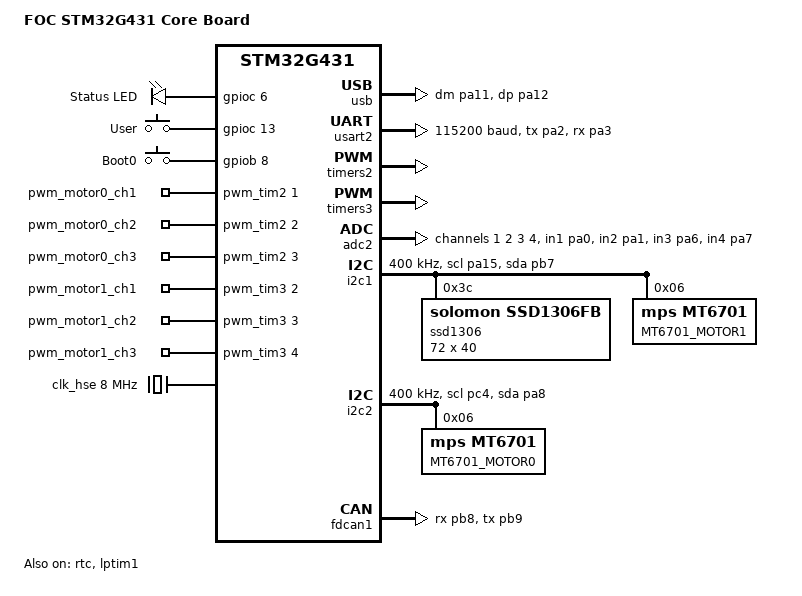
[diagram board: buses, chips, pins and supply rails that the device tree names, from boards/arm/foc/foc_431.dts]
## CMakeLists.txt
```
cmake_minimum_required(VERSION 3.20.0)

set(BOARD_ROOT ${CMAKE_CURRENT_SOURCE_DIR})
set(DTS_ROOT ${CMAKE_CURRENT_SOURCE_DIR})

if (NOT BUILD_TYPE)
    set(BUILD_TYPE debug)
endif()

# Set overlay file based on CONF_FILE environment/cache variable
# Users can build with: west build -b foc_431 -- -DCONF_FILE=prj_no_usb.conf
if(NOT DEFINED DTC_OVERLAY_FILE)
    if(DEFINED CONF_FILE AND "${CONF_FILE}" MATCHES "no_usb")
        set(DTC_OVERLAY_FILE ${CMAKE_CURRENT_SOURCE_DIR}/foc_431_no_usb.overlay)
    endif()
endif()

find_package(Zephyr REQUIRED HINTS $ENV{ZEPHYR_BASE})
project(foc)

target_sources(app PRIVATE
    src/main.c
    src/drv/oled.c
    src/drv/mt6701.c
    src/drv/pwm_bldc.c
)

# ADC DMA driver
target_sources_ifdef(CONFIG_FOC_ADC_DMA app PRIVATE src/drv/adc_dma.c)

# USB CDC-ACM source
target_sources_ifdef(CONFIG_ENABLE_USB app PRIVATE src/cdcacm.c)

# Shell source
target_sources_ifdef(CONFIG_SHELL app PRIVATE src/console.c)

include_directories(inc)

# Add debug-specific compiler flags
if(BUILD_TYPE STREQUAL "debug")
    message("Set BUILD_TYPE to Debug")
    target_compile_options(app PRIVATE -O0 -g3)
    target_compile_definitions(app PRIVATE DEBUG=1)
endif()
```

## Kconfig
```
# FOC Application Kconfig

mainmenu "FOC Application Configuration"

config FOC_ADC_DMA
	bool "Enable ADC periodic sampling driver"
	default y
	depends on ADC
	help
	  Enable ADC driver that periodically reads analog channels
	  using a timer and stores results in a buffer accessible
	  to the application.

if FOC_ADC_DMA

config FOC_ADC_SAMPLE_FREQ_HZ
	int "ADC sampling frequency in Hz"
	default 10000
	range 100 100000
	help
	  Frequency at which ADC channels are sampled using DMA.
	  Higher frequencies provide better resolution for fast-changing
	  signals but increase CPU/DMA load.
	  Default: 10 kHz (10000 Hz)

config FOC_ADC_NUM_CHANNELS
	int "Number of ADC channels to sample"
	default 4
	range 1 16
	help
	  Number of ADC channels to sample via DMA.
	  Must match the number of channels configured in device tree.

endif # FOC_ADC_DMA

source "Kconfig.zephyr"
```

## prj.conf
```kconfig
# Basic hardware configurations
CONFIG_I2C=y
CONFIG_GPIO=y
CONFIG_SPI=y
CONFIG_CLOCK_CONTROL=y
CONFIG_PWM=y
CONFIG_ADC=y
CONFIG_ADC_ASYNC=y
CONFIG_DMA=y

# Logging configurations
CONFIG_LOG=y
CONFIG_LOG_MODE_MINIMAL=y
CONFIG_LOG_DEFAULT_LEVEL=3
CONFIG_LOG_PRINTK=n

# Shell subsystem
CONFIG_SHELL=y
CONFIG_SHELL_BACKEND_SERIAL=y
CONFIG_SHELL_PROMPT_UART="foc:~$ "
CONFIG_SHELL_VT100_COLORS=n

# USB support (FOC control)
CONFIG_ENABLE_USB=n

# Math library support
CONFIG_NEWLIB_LIBC=y
CONFIG_NEWLIB_LIBC_FLOAT_PRINTF=y
CONFIG_NEWLIB_LIBC_FLOAT_SCANF=y

# ADC DMA driver
CONFIG_FOC_ADC_DMA=y
CONFIG_FOC_ADC_SAMPLE_FREQ_HZ=500
CONFIG_FOC_ADC_NUM_CHANNELS=4
```

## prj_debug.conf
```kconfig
CONFIG_ASSERT_VERBOSE=y
CONFIG_DEBUG_THREAD_INFO=y
CONFIG_DEBUG_COREDUMP=y
CONFIG_HW_STACK_PROTECTION=y
```

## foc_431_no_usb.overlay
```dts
/*
 * Device tree overlay to disable USB when CONFIG_ENABLE_USB=n
 */

&usb {
	status = "disabled";
};
```

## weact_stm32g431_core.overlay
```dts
/* USB Device Configuration */
zephyr_udc0: &usb {
	pinctrl-0 = <&usb_dm_pa11 &usb_dp_pa12>;
	pinctrl-names = "default";
	status = "okay";

	cdc_acm_uart0: cdc_acm_uart0 {
		compatible = "zephyr,cdc-acm-uart";
		label = "CDC ACM 0";
	};
};

/* I2C1 Configuration for OLED Display */
&i2c1 {
	status = "okay";
	/* NOTE: Using PA15/PB7 instead of PB8/PB9
	 * PB8 is reserved for BOOT0 button - see gpio_keys above */
	pinctrl-0 = <&i2c1_scl_pa15 &i2c1_sda_pb7>;
	pinctrl-names = "default";
	clock-frequency = <I2C_BITRATE_FAST>;

	ssd1306: ssd1306@3c {
		compatible = "solomon,ssd1306fb";
		reg = <0x3c>;
		width = <72>;
		height = <40>;
		segment-offset = <0>;
		page-offset = <0>;
		display-offset = <0>;
		multiplex-ratio = <39>;
		segment-remap;
		com-invdir;
		prechargep = <0x22>;
	};
};
```

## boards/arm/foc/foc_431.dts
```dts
/*
 * Copyright (c) 2023 Andreas Sandberg
 *
 * SPDX-License-Identifier: Apache-2.0
 */

/dts-v1/;
#include <st/g4/stm32g431Xb.dtsi>
#include <st/g4/stm32g431c(6-8-b)ux-pinctrl.dtsi>
#include <zephyr/dt-bindings/usb-c/pd.h>
#include <zephyr/dt-bindings/input/input-event-codes.h>

/ {
	model = "FOC STM32G431 Core Board";
	compatible = "st,stm32g431";

	chosen {
		zephyr,console = &usart2;
		zephyr,shell-uart = &usart2;
		zephyr,sram = &sram0;
		zephyr,flash = &flash0;
	};

	aliases {
		led0 = &led_0;
		mcuboot-button0 = &button_0;
		mcuboot-led0 = &led_0;
		sw0 = &button_0;
		usbc-port0 = &usbc1;
		pwm-motor0 = &pwm_tim2;
		pwm-motor1 = &pwm_tim3;
		encoder-motor0 = &mt6701_motor0;
		encoder-motor1 = &mt6701_motor1;
	};

	leds {
		compatible = "gpio-leds";

		led_0: led0 {
			gpios = <&gpioc 6 GPIO_ACTIVE_HIGH>;
			label = "Status LED";
		};
	};

	gpio_keys {
		compatible = "gpio-keys";

		button_0: button0 {
			label = "User";
			gpios = <&gpioc 13 (GPIO_PULL_DOWN | GPIO_ACTIVE_HIGH)>;
			zephyr,code = <INPUT_KEY_0>;
		};

		button_1: button1 {
			label = "Boot0";
			/* WARNING: PB8 is used as BOOT0 button */
			gpios = <&gpiob 8 GPIO_ACTIVE_HIGH>;
			zephyr,code = <INPUT_KEY_1>;
		};
	};

	vbus1: vbus {
		compatible = "zephyr,usb-c-vbus-adc";
		status = "disabled";
		io-channels = <&adc2 12>;
		output-ohms = <10000>;
		full-ohms = <(100000 + 10000)>;
	};

	ports {
		#address-cells = <1>;
		#size-cells = <0>;

		usbc1: usbc-port@1 {
			compatible = "usb-c-connector";
			status = "disabled";
			reg = <1>;
			tcpc = <&ucpd1>;
			vbus = <&vbus1>;
			data-role = "device";
			power-role = "sink";
			sink-pdos = <PDO_FIXED(5000, 100, PDO_FIXED_USB_COMM)>;
		};
	};
};

/* ========================================================================== */
/* SWD / JTAG pins – Reserved by default (PA13, PA14)                        */
/* PA13 = SWDIO, PA14 = SWCLK - automatically reserved for debugging         */
/* ========================================================================== */

&clk_lsi {
	status = "okay";
};

&clk_lse {
	status = "okay";
};

&clk_hsi {
	status = "disabled";
};

&clk_hse {
	status = "okay";
	clock-frequency = <DT_FREQ_M(8)>;
};

&rcc {
	clocks = <&pll>;
	clock-frequency = <DT_FREQ_M(144)>;
	ahb-prescaler = <1>;
	apb1-prescaler = <1>;
	apb2-prescaler = <1>;
};

&pll {
	status = "okay";
	div-m = <2>;
	mul-n = <72>;
	div-p = <2>;
	div-q = <6>;
	div-r = <2>;
	clocks = <&clk_hse>;
};

&rtc {
	status = "okay";
	clocks = <&rcc STM32_CLOCK(APB1, 10)>,
		 <&rcc STM32_SRC_LSE RTC_SEL(1)>;
};

stm32_lp_tick_source: &lptim1 {
	status = "okay";
	clocks = <&rcc STM32_CLOCK(APB1, 31)>,
		 <&rcc STM32_SRC_LSE LPTIM1_SEL(3)>;
};

&iwdg {
	status = "disabled";
};

&dma1 {
	status = "okay";
};

&dmamux1 {
	status = "okay";
};

&usb {
	status = "okay";
	pinctrl-0 = <&usb_dm_pa11 &usb_dp_pa12>;
	pinctrl-names = "default";

	cdc_acm_uart: cdc_acm_uart {
		compatible = "zephyr,cdc-acm-uart";
	};
};

&ucpd1 {
	psc-ucpdclk = <1>;
	hbitclkdiv = <27>;
	pinctrl-0 = <&ucpd1_cc1_pb6 &ucpd1_cc2_pb4>;
	pinctrl-names = "default";
};

/* ========================================================================== */
/* USART2 on PA2 (TX) + PA3 (RX)                                            */
/* ========================================================================== */
&usart2 {
	status = "okay";
	pinctrl-0 = <&usart2_tx_pa2 &usart2_rx_pa3>;
	pinctrl-names = "default";
	current-speed = <115200>;
};

/* ========================================================================== */
/* Motor 0 – TIM2 high-side only: PA5, PB3, PB10                           */
/* ========================================================================== */
&timers2 {
	status = "okay";

	pwm_tim2: pwm {
		status = "okay";
		pinctrl-0 = <&tim2_ch1_pa5
		             &tim2_ch2_pb3
		             &tim2_ch3_pb10>;
		pinctrl-names = "default";
		#pwm-cells = <3>;
	};
};

/ {
	pwm_motor0_dev: pwm-motor0-device {
		compatible = "pwm-leds";
		pwm_motor0_ch1: pwm-motor0-ch1 {
			pwms = <&pwm_tim2 1 50000 PWM_POLARITY_NORMAL>;
		};
		pwm_motor0_ch2: pwm-motor0-ch2 {
			pwms = <&pwm_tim2 2 50000 PWM_POLARITY_NORMAL>;
		};
		pwm_motor0_ch3: pwm-motor0-ch3 {
			pwms = <&pwm_tim2 3 50000 PWM_POLARITY_NORMAL>;
		};
	};
};

/* ========================================================================== */
/* Motor 1 – TIM3 high-side only: PA4, PB0, PB1                            */
/* ========================================================================== */
&timers3 {
	status = "okay";

	pwm_tim3: pwm {
		status = "okay";
		pinctrl-0 = <&tim3_ch2_pa4
		             &tim3_ch3_pb0
		             &tim3_ch4_pb1>;
		pinctrl-names = "default";
		#pwm-cells = <3>;
	};
};

/ {
	pwm_motor1_dev: pwm-motor1-device {
		compatible = "pwm-leds";
		pwm_motor1_ch1: pwm-motor1-ch1 {
			pwms = <&pwm_tim3 2 50000 PWM_POLARITY_NORMAL>;
		};
		pwm_motor1_ch2: pwm-motor1-ch2 {
			pwms = <&pwm_tim3 3 50000 PWM_POLARITY_NORMAL>;
		};
		pwm_motor1_ch3: pwm-motor1-ch3 {
			pwms = <&pwm_tim3 4 50000 PWM_POLARITY_NORMAL>;
		};
	};
};

/* ========================================================================== */
/* ADC1 - DISABLED                                                          */
/* ADC2: PA0 (IN1), PA1 (IN2), PA6 (IN3), PA7 (IN4)                        */
/* ========================================================================== */
&adc1 {
	status = "disabled";
};

&adc2 {
	status = "okay";
	pinctrl-0 = <&adc2_in1_pa0
	             &adc2_in2_pa1
	             &adc2_in3_pa6
	             &adc2_in4_pa7>;
	pinctrl-names = "default";
	st,adc-clock-source = "SYNC";
	st,adc-prescaler = <1>;  /* No prescaler: 144 MHz ADC clock */
	dmas = <&dmamux1 0 5 (STM32_DMA_PERIPH_RX | STM32_DMA_PRIORITY_HIGH)>;
	dma-names = "dmamux";

	#address-cells = <1>;
	#size-cells = <0>;

	channel@1 {
		reg = <1>;
		zephyr,gain = "ADC_GAIN_1";
		zephyr,reference = "ADC_REF_INTERNAL";
		zephyr,acquisition-time = <ADC_ACQ_TIME(ADC_ACQ_TIME_TICKS, 48)>;
		zephyr,resolution = <12>;
		zephyr,vref-mv = <3300>;
	};

	channel@2 {
		reg = <2>;
		zephyr,gain = "ADC_GAIN_1";
		zephyr,reference = "ADC_REF_INTERNAL";
		zephyr,acquisition-time = <ADC_ACQ_TIME(ADC_ACQ_TIME_TICKS, 48)>;
		zephyr,resolution = <12>;
		zephyr,vref-mv = <3300>;
	};

	channel@3 {
		reg = <3>;
		zephyr,gain = "ADC_GAIN_1";
		zephyr,reference = "ADC_REF_INTERNAL";
		zephyr,acquisition-time = <ADC_ACQ_TIME(ADC_ACQ_TIME_TICKS, 48)>;
		zephyr,resolution = <12>;
		zephyr,vref-mv = <3300>;
	};

	channel@4 {
		reg = <4>;
		zephyr,gain = "ADC_GAIN_1";
		zephyr,reference = "ADC_REF_INTERNAL";
		zephyr,acquisition-time = <ADC_ACQ_TIME(ADC_ACQ_TIME_TICKS, 48)>;
		zephyr,resolution = <12>;
		zephyr,vref-mv = <3300>;
	};
};

/* ========================================================================== */
/* I2C1 on PA15 (SCL) + PB7 (SDA)                                           */
/* ========================================================================== */
&i2c1 {
	status = "okay";
	pinctrl-0 = <&i2c1_scl_pa15 &i2c1_sda_pb7>;
	pinctrl-names = "default";
	clock-frequency = <I2C_BITRATE_FAST>;

	ssd1306: ssd1306@3c {
		compatible = "solomon,ssd1306fb";
		reg = <0x3c>;
		width = <72>;
		height = <40>;
		segment-offset = <0>;
		page-offset = <0>;
		display-offset = <0>;
		multiplex-ratio = <39>;
		segment-remap;
		com-invdir;
		prechargep = <0x22>;
	};

	mt6701_motor1: mt6701@6 {
		compatible = "mps,mt6701";
		reg = <0x06>;
		label = "MT6701_MOTOR1";
	};
};

/* ========================================================================== */
/* I2C2 on PC4 (SCL) + PA8 (SDA)                                            */
/* ========================================================================== */
&i2c2 {
	status = "okay";
	pinctrl-0 = <&i2c2_scl_pc4 &i2c2_sda_pa8>;
	pinctrl-names = "default";
	clock-frequency = <I2C_BITRATE_FAST>;

	mt6701_motor0: mt6701@6 {
		compatible = "mps,mt6701";
		reg = <0x06>;
		label = "MT6701_MOTOR0";
	};
};

/* ========================================================================== */
/* FDCAN1 on PB8 (RX) + PB9 (TX)                                            */
/* ========================================================================== */
&fdcan1 {
	status = "okay";
	pinctrl-0 = <&fdcan1_rx_pb8 &fdcan1_tx_pb9>;
	pinctrl-names = "default";
	clocks = <&rcc STM32_CLOCK(APB1, 25)>;
	clk-divider = <1>;
	bosch,mram-cfg = <0x0 28 8 18 18 0 8 8>;
};

/* ========================================================================== */
/* Everything else disabled to keep pins free                                */
/* ========================================================================== */
&timers1 { status = "disabled"; };
&timers4 { status = "disabled"; };
&timers8 { status = "disabled"; };
&i2c3   { status = "disabled"; };
&spi1   { status = "disabled"; };
&spi2   { status = "disabled"; };
&spi3   { status = "disabled"; };
```

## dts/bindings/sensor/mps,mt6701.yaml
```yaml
# Copyright (c) 2025 FOC Project
# SPDX-License-Identifier: Apache-2.0

description: MPS MT6701 14-bit Magnetic Angle Position Encoder

compatible: "mps,mt6701"

include: [sensor-device.yaml, i2c-device.yaml]

properties:
  label:
    type: string
    description: Human readable string describing the device
```

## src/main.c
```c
#include <zephyr/kernel.h>
#include <zephyr/logging/log.h>
#include "oled.h"
#include "cdcacm.h"
#include "console.h"
#include "pwm_bldc.h"

LOG_MODULE_REGISTER(main, LOG_LEVEL_INF);

int main(void)
{
    const struct device *pwm_motor0;

    LOG_INF("FOC STM32G431 Starting");

#ifdef CONFIG_ENABLE_USB
    cdcacm_init();
#endif /* CONFIG_ENABLE_USB */

    /* Get PWM BLDC device by alias */
    pwm_motor0 = pwm_bldc_get_device("pwm-motor0");
    if (pwm_motor0 == NULL) {
        LOG_ERR("Failed to get PWM motor0 device");
    } else if (!device_is_ready(pwm_motor0)) {
        LOG_ERR("PWM motor0 device not ready");
    } else {
        LOG_INF("PWM motor0 initialized successfully");

        /* Set initial duty cycle to 0% on all phases */
        pwm_bldc_disable(pwm_motor0);
    }

    while (1) {
        pwm_bldc_update_oled();
        k_sleep(K_MSEC(500));
    }

    return 0;
}
```

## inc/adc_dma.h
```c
/*
 * Copyright (c) 2025 FOC Project
 *
 * SPDX-License-Identifier: Apache-2.0
 */

#ifndef ADC_DMA_H
#define ADC_DMA_H

#include <zephyr/kernel.h>
#include <zephyr/device.h>
#include <stdint.h>

/**
 * @brief ADC DMA driver for periodic analog channel sampling
 *
 * This driver uses DMA to periodically read ADC channels at a configured
 * frequency and store the results in a circular buffer. The application
 * can read the latest values at any time without blocking.
 */

/**
 * @brief Get latest ADC value for a channel
 *
 * Returns the most recently sampled ADC value for the specified channel.
 * This is a non-blocking read from the DMA buffer.
 *
 * @param channel Channel number (0-based, must be < FOC_ADC_NUM_CHANNELS)
 * @param value Pointer to store the 12-bit ADC value (0-4095)
 *
 * @return 0 on success, -EINVAL if channel invalid, -ENODATA if no data yet
 */
int adc_dma_get_channel(uint8_t channel, uint16_t *value);

/**
 * @brief Get all ADC channel values
 *
 * Copies all current ADC channel values to the provided buffer.
 * This is a non-blocking read from the DMA buffer.
 *
 * @param values Buffer to store ADC values (must hold FOC_ADC_NUM_CHANNELS values)
 * @param num_channels Number of channels to read
 *
 * @return 0 on success, -EINVAL if parameters invalid, -ENODATA if no data yet
 */
int adc_dma_get_all_channels(uint16_t *values, uint8_t num_channels);

/**
 * @brief Convert ADC raw value to millivolts
 *
 * Converts a 12-bit ADC value to millivolts based on the reference voltage.
 *
 * @param raw_value Raw ADC value (0-4095)
 *
 * @return Voltage in millivolts
 */
uint32_t adc_dma_raw_to_mv(uint16_t raw_value);

#endif /* ADC_DMA_H */
```

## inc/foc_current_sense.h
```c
/*
 * Copyright (c) 2025 FOC Project
 *
 * SPDX-License-Identifier: Apache-2.0
 */

#ifndef FOC_CURRENT_SENSE_H
#define FOC_CURRENT_SENSE_H

#include <zephyr/kernel.h>
#include <zephyr/drivers/adc.h>
#include "foc_math.h"

/**
 * @brief Current sense amplifier configuration
 */
struct current_sense_amp_config {
	float gain;              /* Amplifier gain (V/V) */
	float shunt_resistance;  /* Shunt resistor value (Ohms) */
	float offset_voltage;    /* Amplifier offset voltage (V) */
	float vref;              /* ADC reference voltage (V) */
};

/**
 * @brief Current sense device structure (DMA-based multi-channel)
 */
struct current_sense_dev {
	/* ADC device */
	const struct device *adc_dev;

	/* ADC channel IDs */
	uint8_t channel_a;
	uint8_t channel_b;

	/* Channel configurations */
	struct adc_channel_cfg channel_cfg_a;
	struct adc_channel_cfg channel_cfg_b;

	/* DMA buffer for simultaneous reads (2 channels) */
	int16_t adc_buffer[2];

	/* ADC sequence for multi-channel DMA read */
	struct adc_sequence sequence;

	/* Amplifier configuration */
	struct current_sense_amp_config amp_config;

	/* Calibration data */
	float offset_a;  /* Phase A ADC offset */
	float offset_b;  /* Phase B ADC offset */
	bool calibrated;

	/* Current readings (Amps) */
	float current_a;
	float current_b;
	float current_c;  /* Calculated from Kirchhoff's law: Ic = -(Ia + Ib) */

	/* DQ frame currents */
	float current_d;
	float current_q;
};

/**
 * @brief Initialize current sense module
 *
 * Initializes 2-channel current sensing. Phase C current is automatically
 * calculated using Kirchhoff's law: Ia + Ib + Ic = 0, therefore Ic = -(Ia + Ib)
 *
 * @param dev Pointer to current sense device structure
 * @param adc_dev Pointer to ADC device
 * @param channel_a ADC channel for phase A
 * @param channel_b ADC channel for phase B
 * @param amp_config Amplifier configuration
 * @return 0 on success, negative errno on failure
 */
int current_sense_init(struct current_sense_dev *dev,
                       const struct device *adc_dev,
                       uint8_t channel_a,
                       uint8_t channel_b,
                       const struct current_sense_amp_config *amp_config);

/**
 * @brief Calibrate current sense offsets
 *
 * This should be called when the motor is not powered to measure
 * the zero-current ADC offset values.
 *
 * @param dev Pointer to current sense device structure
 * @param num_samples Number of samples to average for calibration
 * @return 0 on success, negative errno on failure
 */
int current_sense_calibrate(struct current_sense_dev *dev, uint16_t num_samples);

/**
 * @brief Read raw ADC values from all three phases
 *
 * @param dev Pointer to current sense device structure
 * @param raw_a Pointer to store raw ADC value for phase A
 * @param raw_b Pointer to store raw ADC value for phase B
 * @param raw_c Pointer to store raw ADC value for phase C
 * @return 0 on success, negative errno on failure
 */
int current_sense_read_raw(struct current_sense_dev *dev,
                           int16_t *raw_a, int16_t *raw_b, int16_t *raw_c);

/**
 * @brief Read three-phase currents in ABC frame
 *
 * Reads ADC values and converts to current in Amps, applying calibration
 * offsets. Updates dev->current_a, dev->current_b, dev->current_c.
 *
 * @param dev Pointer to current sense device structure
 * @param currents Pointer to ABC frame structure to store currents
 * @return 0 on success, negative errno on failure
 */
int current_sense_read_abc(struct current_sense_dev *dev, struct abc_frame *currents);

/**
 * @brief Read currents in DQ frame
 *
 * Reads ABC currents, applies Clarke and Park transforms to get DQ currents.
 * Updates dev->current_d and dev->current_q.
 *
 * @param dev Pointer to current sense device structure
 * @param angle_el Electrical angle in radians
 * @param currents Pointer to DQ frame structure to store currents
 * @return 0 on success, negative errno on failure
 */
int current_sense_read_dq(struct current_sense_dev *dev, float angle_el,
                          struct dq_frame *currents);

/**
 * @brief Convert raw ADC value to current in Amps
 *
 * Formula: I = (V_adc - V_offset) / (Gain * R_shunt)
 * where V_adc = (raw / ADC_max) * V_ref
 *
 * @param dev Pointer to current sense device structure
 * @param raw_value Raw ADC value
 * @param offset Calibrated offset value
 * @return Current in Amps
 */
float current_sense_raw_to_amps(const struct current_sense_dev *dev,
                                int16_t raw_value, float offset);

/**
 * @brief Get the last measured ABC currents
 *
 * @param dev Pointer to current sense device structure
 * @param currents Pointer to ABC frame structure to store currents
 */
void current_sense_get_abc(const struct current_sense_dev *dev, struct abc_frame *currents);

/**
 * @brief Get the last measured DQ currents
 *
 * @param dev Pointer to current sense device structure
 * @param currents Pointer to DQ frame structure to store currents
 */
void current_sense_get_dq(const struct current_sense_dev *dev, struct dq_frame *currents);

/**
 * @brief Check if current sense is calibrated
 *
 * @param dev Pointer to current sense device structure
 * @return true if calibrated, false otherwise
 */
static inline bool current_sense_is_calibrated(const struct current_sense_dev *dev)
{
	return dev ? dev->calibrated : false;
}

#endif /* FOC_CURRENT_SENSE_H */
```

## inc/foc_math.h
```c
/*
 * Copyright (c) 2025 FOC Project
 *
 * SPDX-License-Identifier: Apache-2.0
 */

#ifndef FOC_MATH_H
#define FOC_MATH_H

#include <zephyr/kernel.h>
#include <math.h>

#ifndef M_PI
#define M_PI 3.14159265358979323846
#endif

#ifndef M_2PI
#define M_2PI (2.0f * M_PI)
#endif

#ifndef M_SQRT3
#define M_SQRT3 1.732050807568877f
#endif

#ifndef M_SQRT3_2
#define M_SQRT3_2 0.866025403784439f
#endif

/**
 * @brief DQ voltage/current structure (rotating reference frame)
 */
struct dq_frame {
	float d;  /* Direct axis component */
	float q;  /* Quadrature axis component */
};

/**
 * @brief Alpha-Beta voltage/current structure (stationary reference frame)
 */
struct ab_frame {
	float alpha;  /* Alpha axis component */
	float beta;   /* Beta axis component */
};

/**
 * @brief Three-phase voltage/current structure
 */
struct abc_frame {
	float a;  /* Phase A */
	float b;  /* Phase B */
	float c;  /* Phase C */
};

/**
 * @brief Normalize angle to [0, 2π] range
 *
 * @param angle Angle in radians
 * @return Normalized angle in radians
 */
float foc_normalize_angle(float angle);

/**
 * @brief Calculate electrical angle from mechanical angle
 *
 * @param mechanical_angle Mechanical shaft angle in radians
 * @param pole_pairs Number of motor pole pairs
 * @return Electrical angle in radians
 */
float foc_electrical_angle(float mechanical_angle, int pole_pairs);

/**
 * @brief Fast sine approximation
 *
 * @param angle Angle in radians
 * @return Sine of angle
 */
float foc_sin(float angle);

/**
 * @brief Fast cosine approximation
 *
 * @param angle Angle in radians
 * @return Cosine of angle
 */
float foc_cos(float angle);

/**
 * @brief Fast sine and cosine calculation
 *
 * @param angle Angle in radians
 * @param sin_out Pointer to store sine value
 * @param cos_out Pointer to store cosine value
 */
void foc_sincos(float angle, float *sin_out, float *cos_out);

/**
 * @brief Clarke Transform: Convert three-phase to alpha-beta frame
 *
 * Transforms three-phase quantities (a, b, c) to two-phase stationary
 * reference frame (alpha, beta).
 *
 * @param abc Three-phase input
 * @param ab Alpha-beta output
 */
void foc_clarke_transform(const struct abc_frame *abc, struct ab_frame *ab);

/**
 * @brief Inverse Clarke Transform: Convert alpha-beta to three-phase frame
 *
 * @param ab Alpha-beta input
 * @param abc Three-phase output
 */
void foc_inverse_clarke_transform(const struct ab_frame *ab, struct abc_frame *abc);

/**
 * @brief Park Transform: Convert alpha-beta to dq rotating frame
 *
 * Transforms stationary frame (alpha, beta) to rotating reference frame
 * (d, q) aligned with rotor flux.
 *
 * @param ab Alpha-beta input
 * @param angle_el Electrical angle in radians
 * @param dq DQ output
 */
void foc_park_transform(const struct ab_frame *ab, float angle_el, struct dq_frame *dq);

/**
 * @brief Inverse Park Transform: Convert dq to alpha-beta frame
 *
 * @param dq DQ input
 * @param angle_el Electrical angle in radians
 * @param ab Alpha-beta output
 */
void foc_inverse_park_transform(const struct dq_frame *dq, float angle_el, struct ab_frame *ab);

/**
 * @brief Space Vector Modulation: Set three-phase voltages
 *
 * This is the core FOC algorithm that converts Uq, Ud voltages in the
 * rotating frame to three-phase PWM voltages.
 *
 * @param uq Quadrature voltage (torque producing)
 * @param ud Direct voltage (flux producing)
 * @param angle_el Electrical angle in radians
 * @param voltage_limit Maximum voltage limit
 * @param abc Output three-phase voltages
 */
void foc_svm(float uq, float ud, float angle_el, float voltage_limit,
             struct abc_frame *abc);

/**
 * @brief Constrain value to range
 *
 * @param value Input value
 * @param min Minimum value
 * @param max Maximum value
 * @return Constrained value
 */
static inline float foc_constrain(float value, float min, float max)
{
	if (value < min) return min;
	if (value > max) return max;
	return value;
}

/**
 * @brief Calculate magnitude of vector
 *
 * @param x X component
 * @param y Y component
 * @return Magnitude sqrt(x^2 + y^2)
 */
static inline float foc_magnitude(float x, float y)
{
	return sqrtf(x * x + y * y);
}

#endif /* FOC_MATH_H */
```

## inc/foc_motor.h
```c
/*
 * Copyright (c) 2025 FOC Project
 *
 * SPDX-License-Identifier: Apache-2.0
 */

#ifndef FOC_MOTOR_H
#define FOC_MOTOR_H

#include <zephyr/kernel.h>
#include <zephyr/drivers/pwm.h>
#include "foc_math.h"
#include "foc_pid.h"
#include "foc_current_sense.h"
#include "mt6701.h"

/**
 * @brief Motor control modes
 */
enum foc_control_mode {
	FOC_MODE_VOLTAGE,      /* Direct voltage control (open loop) */
	FOC_MODE_VELOCITY,     /* Velocity control with PID */
	FOC_MODE_POSITION,     /* Position control with PID */
	FOC_MODE_TORQUE,       /* Torque control (requires current sensing) */
};

/**
 * @brief Motor state
 */
enum foc_motor_state {
	FOC_STATE_DISABLED,    /* Motor disabled */
	FOC_STATE_INIT,        /* Initializing */
	FOC_STATE_CALIBRATING, /* Calibrating sensor alignment */
	FOC_STATE_IDLE,        /* Enabled but not moving */
	FOC_STATE_RUNNING,     /* Running control loop */
	FOC_STATE_ERROR,       /* Error state */
};

/**
 * @brief Motor parameters
 */
struct foc_motor_params {
	int pole_pairs;           /* Number of motor pole pairs */
	float phase_resistance;   /* Phase resistance in Ohms */
	float phase_inductance;   /* Phase inductance in Henries */
	float voltage_supply;     /* Supply voltage */
	float voltage_limit;      /* Maximum voltage to apply to motor */
	float velocity_limit;     /* Maximum velocity in rad/s */
	float current_limit;      /* Maximum current in Amps (if current sensing) */
};

/**
 * @brief PWM output structure
 */
struct foc_pwm_output {
	const struct device *pwm_dev;
	uint32_t channel_a;
	uint32_t channel_b;
	uint32_t channel_c;
	uint32_t pwm_period_ns;  /* PWM period in nanoseconds */
};

/**
 * @brief Motor control structure
 */
struct foc_motor {
	/* Motor parameters */
	struct foc_motor_params params;

	/* Sensor */
	const struct mt6701_dev *sensor;

	/* Current sensing (optional) */
	struct current_sense_dev *current_sense;
	bool current_sense_enabled;

	/* PWM outputs */
	struct foc_pwm_output pwm;

	/* Control mode and state */
	enum foc_control_mode mode;
	enum foc_motor_state state;

	/* PID controllers */
	struct pid_controller pid_velocity;
	struct pid_controller pid_position;
	struct pid_controller pid_d;  /* Direct axis current/voltage */
	struct pid_controller pid_q;  /* Quadrature axis current/voltage */

	/* Position and velocity measurements */
	float angle_mechanical;   /* Mechanical shaft angle (rad) */
	float angle_electrical;   /* Electrical angle (rad) */
	float velocity;           /* Angular velocity (rad/s) */
	float position_target;    /* Target position (rad) */
	float velocity_target;    /* Target velocity (rad/s) */

	/* Voltage commands */
	float voltage_q;          /* Quadrature voltage command */
	float voltage_d;          /* Direct voltage command */

	/* Current targets and measurements (when current sensing enabled) */
	float current_q_target;   /* Target Q-axis current */
	float current_d_target;   /* Target D-axis current */
	float current_q;          /* Measured Q-axis current */
	float current_d;          /* Measured D-axis current */

	/* Calibration data */
	float sensor_offset;      /* Sensor zero offset */
	bool sensor_calibrated;   /* Sensor calibration status */

	/* Time tracking */
	int64_t prev_time_us;
};

/**
 * @brief Initialize FOC motor controller
 *
 * @param motor Pointer to motor structure
 * @param params Motor parameters
 * @param sensor Pointer to position sensor
 * @param pwm_output PWM output configuration
 * @return 0 on success, negative errno on failure
 */
int foc_motor_init(struct foc_motor *motor,
                   const struct foc_motor_params *params,
                   const struct mt6701_dev *sensor,
                   const struct foc_pwm_output *pwm_output);

/**
 * @brief Enable motor controller
 *
 * @param motor Pointer to motor structure
 * @return 0 on success, negative errno on failure
 */
int foc_motor_enable(struct foc_motor *motor);

/**
 * @brief Disable motor controller
 *
 * Sets all PWM outputs to zero and disables control
 *
 * @param motor Pointer to motor structure
 * @return 0 on success, negative errno on failure
 */
int foc_motor_disable(struct foc_motor *motor);

/**
 * @brief Set motor control mode
 *
 * @param motor Pointer to motor structure
 * @param mode Control mode
 * @return 0 on success, negative errno on failure
 */
int foc_motor_set_mode(struct foc_motor *motor, enum foc_control_mode mode);

/**
 * @brief Link current sense module to motor
 *
 * Enables current-based control modes (torque control)
 *
 * @param motor Pointer to motor structure
 * @param current_sense Pointer to current sense device
 * @return 0 on success, negative errno on failure
 */
int foc_motor_link_current_sense(struct foc_motor *motor,
                                  struct current_sense_dev *current_sense);

/**
 * @brief Set velocity PID gains
 *
 * @param motor Pointer to motor structure
 * @param kp Proportional gain
 * @param ki Integral gain
 * @param kd Derivative gain
 */
void foc_motor_set_velocity_pid(struct foc_motor *motor, float kp, float ki, float kd);

/**
 * @brief Set position PID gains
 *
 * @param motor Pointer to motor structure
 * @param kp Proportional gain
 * @param ki Integral gain
 * @param kd Derivative gain
 */
void foc_motor_set_position_pid(struct foc_motor *motor, float kp, float ki, float kd);

/**
 * @brief Set target velocity
 *
 * @param motor Pointer to motor structure
 * @param velocity Target velocity in rad/s
 */
void foc_motor_set_velocity(struct foc_motor *motor, float velocity);

/**
 * @brief Set target position
 *
 * @param motor Pointer to motor structure
 * @param position Target position in radians
 */
void foc_motor_set_position(struct foc_motor *motor, float position);

/**
 * @brief Set direct voltage (Uq, Ud)
 *
 * For voltage control mode
 *
 * @param motor Pointer to motor structure
 * @param uq Quadrature voltage
 * @param ud Direct voltage
 */
void foc_motor_set_voltage(struct foc_motor *motor, float uq, float ud);

/**
 * @brief Set target current (Iq, Id)
 *
 * For torque control mode (requires current sensing)
 *
 * @param motor Pointer to motor structure
 * @param iq Quadrature current (torque producing)
 * @param id Direct current (flux producing, typically 0)
 */
void foc_motor_set_current(struct foc_motor *motor, float iq, float id);

/**
 * @brief Run FOC control loop (call this regularly, e.g., 1-10 kHz)
 *
 * Reads sensor, updates control algorithms, and sets PWM outputs
 *
 * @param motor Pointer to motor structure
 * @return 0 on success, negative errno on failure
 */
int foc_motor_loop(struct foc_motor *motor);

/**
 * @brief Calibrate sensor alignment
 *
 * Rotates motor to find sensor zero position
 *
 * @param motor Pointer to motor structure
 * @return 0 on success, negative errno on failure
 */
int foc_motor_calibrate_sensor(struct foc_motor *motor);

/**
 * @brief Get current motor state
 *
 * @param motor Pointer to motor structure
 * @return Current motor state
 */
enum foc_motor_state foc_motor_get_state(const struct foc_motor *motor);

/**
 * @brief Get current velocity
 *
 * @param motor Pointer to motor structure
 * @return Current velocity in rad/s
 */
float foc_motor_get_velocity(const struct foc_motor *motor);

/**
 * @brief Get current position
 *
 * @param motor Pointer to motor structure
 * @return Current position in radians
 */
float foc_motor_get_position(const struct foc_motor *motor);

#endif /* FOC_MOTOR_H */
```

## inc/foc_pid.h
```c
/*
 * Copyright (c) 2025 FOC Project
 *
 * SPDX-License-Identifier: Apache-2.0
 */

#ifndef FOC_PID_H
#define FOC_PID_H

#include <zephyr/kernel.h>

/**
 * @brief PID controller structure
 */
struct pid_controller {
	/* Tuning parameters */
	float kp;           /* Proportional gain */
	float ki;           /* Integral gain */
	float kd;           /* Derivative gain (not typically used in FOC) */

	/* Controller state */
	float integral;     /* Integral accumulator */
	float prev_error;   /* Previous error for derivative */
	float prev_output;  /* Previous output value */

	/* Output limits */
	float output_min;   /* Minimum output value */
	float output_max;   /* Maximum output value */

	/* Anti-windup */
	float integral_min; /* Minimum integral value */
	float integral_max; /* Maximum integral value */

	/* Time tracking */
	int64_t prev_time_us; /* Previous update time in microseconds */
};

/**
 * @brief Initialize PID controller
 *
 * @param pid Pointer to PID controller structure
 * @param kp Proportional gain
 * @param ki Integral gain
 * @param kd Derivative gain
 * @param output_min Minimum output value
 * @param output_max Maximum output value
 */
void pid_init(struct pid_controller *pid, float kp, float ki, float kd,
              float output_min, float output_max);

/**
 * @brief Reset PID controller state
 *
 * Clears integral accumulator and error history
 *
 * @param pid Pointer to PID controller structure
 */
void pid_reset(struct pid_controller *pid);

/**
 * @brief Update PID controller
 *
 * Computes PID output based on error between setpoint and measurement
 *
 * @param pid Pointer to PID controller structure
 * @param setpoint Desired value
 * @param measurement Current measured value
 * @param dt Time step in seconds (if 0, auto-calculated from system time)
 * @return Control output
 */
float pid_update(struct pid_controller *pid, float setpoint, float measurement, float dt);

/**
 * @brief Set PID gains
 *
 * @param pid Pointer to PID controller structure
 * @param kp Proportional gain
 * @param ki Integral gain
 * @param kd Derivative gain
 */
void pid_set_gains(struct pid_controller *pid, float kp, float ki, float kd);

/**
 * @brief Set output limits
 *
 * @param pid Pointer to PID controller structure
 * @param min Minimum output value
 * @param max Maximum output value
 */
void pid_set_output_limits(struct pid_controller *pid, float min, float max);

/**
 * @brief Set integral limits (anti-windup)
 *
 * @param pid Pointer to PID controller structure
 * @param min Minimum integral value
 * @param max Maximum integral value
 */
void pid_set_integral_limits(struct pid_controller *pid, float min, float max);

#endif /* FOC_PID_H */
```

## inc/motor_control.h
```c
/*
 * Copyright (c) 2025 FOC Project
 *
 * SPDX-License-Identifier: Apache-2.0
 */

#ifndef MOTOR_CONTROL_H
#define MOTOR_CONTROL_H

#include <zephyr/kernel.h>
#include <zephyr/drivers/i2c.h>
#include <zephyr/drivers/pwm.h>
#include <zephyr/drivers/adc.h>
#include "foc_motor.h"
#include "mt6701.h"
#include "foc_current_sense.h"

/**
 * @brief Motor control context for a single motor
 */
struct motor_control_ctx {
	/* Motor identifier */
	uint8_t motor_id;

	/* FOC motor structure */
	struct foc_motor motor;

	/* Encoder device */
	struct mt6701_dev encoder;

	/* Current sensing device */
	struct current_sense_dev current_sense;

	/* Hardware configuration */
	const struct device *i2c_dev;
	const struct device *pwm_dev;
	const struct device *adc_dev;

	/* Encoder I2C address */
	uint8_t encoder_i2c_addr;

	/* PWM channels (1-indexed) */
	uint8_t pwm_channel_a;
	uint8_t pwm_channel_b;
	uint8_t pwm_channel_c;

	/* ADC channels */
	uint8_t adc_channel_a;
	uint8_t adc_channel_b;

	/* Control thread */
	k_tid_t thread_id;
	bool thread_running;

	/* Motor parameters */
	struct foc_motor_params params;

	/* Current sense configuration */
	struct current_sense_amp_config amp_config;
};

/**
 * @brief Motor control configuration
 */
struct motor_control_config {
	/* Motor parameters */
	uint8_t pole_pairs;
	float phase_resistance;      /* Ohms */
	float phase_inductance;      /* Henries */
	float voltage_supply;        /* Volts */
	float voltage_limit;         /* Volts */
	float velocity_limit;        /* rad/s */
	float current_limit;         /* Amps */

	/* PWM configuration */
	uint32_t pwm_period_ns;

	/* Current sense amplifier configuration */
	float current_sense_gain;
	float current_sense_shunt;
	float current_sense_vref;
	float current_sense_offset;

	/* Control loop frequency */
	uint32_t control_loop_us;    /* Control loop period in microseconds */
};

/**
 * @brief Initialize a motor control context
 *
 * @param ctx Pointer to motor control context
 * @param motor_id Motor identifier (0 or 1)
 * @param i2c_dev I2C device for encoder
 * @param encoder_addr Encoder I2C address
 * @param pwm_dev PWM device
 * @param pwm_ch_a PWM channel for phase A
 * @param pwm_ch_b PWM channel for phase B
 * @param pwm_ch_c PWM channel for phase C
 * @param adc_dev ADC device (or NULL if no current sensing)
 * @param adc_ch_a ADC channel for phase A current
 * @param adc_ch_b ADC channel for phase B current
 * @param config Motor configuration
 * @return 0 on success, negative errno on failure
 */
int motor_control_init(struct motor_control_ctx *ctx,
                       uint8_t motor_id,
                       const struct device *i2c_dev,
                       uint8_t encoder_addr,
                       const struct device *pwm_dev,
                       uint8_t pwm_ch_a,
                       uint8_t pwm_ch_b,
                       uint8_t pwm_ch_c,
                       const struct device *adc_dev,
                       uint8_t adc_ch_a,
                       uint8_t adc_ch_b,
                       const struct motor_control_config *config);

/**
 * @brief Start motor control thread
 *
 * @param ctx Pointer to motor control context
 * @param stack_size Thread stack size in bytes
 * @param priority Thread priority
 * @return 0 on success, negative errno on failure
 */
int motor_control_start_thread(struct motor_control_ctx *ctx,
                               size_t stack_size,
                               int priority);

/**
 * @brief Stop motor control thread
 *
 * @param ctx Pointer to motor control context
 */
void motor_control_stop_thread(struct motor_control_ctx *ctx);

/**
 * @brief Set motor control mode
 *
 * @param ctx Pointer to motor control context
 * @param mode Control mode (voltage, velocity, position, torque)
 */
void motor_control_set_mode(struct motor_control_ctx *ctx, enum foc_control_mode mode);

/**
 * @brief Set motor velocity target
 *
 * @param ctx Pointer to motor control context
 * @param velocity Target velocity in rad/s
 */
void motor_control_set_velocity(struct motor_control_ctx *ctx, float velocity);

/**
 * @brief Set motor position target
 *
 * @param ctx Pointer to motor control context
 * @param position Target position in radians
 */
void motor_control_set_position(struct motor_control_ctx *ctx, float position);

/**
 * @brief Set motor current target (torque control)
 *
 * @param ctx Pointer to motor control context
 * @param iq Q-axis current target in Amps
 * @param id D-axis current target in Amps
 */
void motor_control_set_current(struct motor_control_ctx *ctx, float iq, float id);

/**
 * @brief Get motor velocity
 *
 * @param ctx Pointer to motor control context
 * @return Current velocity in rad/s
 */
float motor_control_get_velocity(struct motor_control_ctx *ctx);

/**
 * @brief Get motor position
 *
 * @param ctx Pointer to motor control context
 * @return Current position in radians
 */
float motor_control_get_position(struct motor_control_ctx *ctx);

/**
 * @brief Get motor state
 *
 * @param ctx Pointer to motor control context
 * @return Current motor state
 */
enum foc_motor_state motor_control_get_state(struct motor_control_ctx *ctx);

/**
 * @brief Enable motor
 *
 * @param ctx Pointer to motor control context
 * @return 0 on success, negative errno on failure
 */
int motor_control_enable(struct motor_control_ctx *ctx);

/**
 * @brief Disable motor
 *
 * @param ctx Pointer to motor control context
 */
void motor_control_disable(struct motor_control_ctx *ctx);

#endif /* MOTOR_CONTROL_H */
```

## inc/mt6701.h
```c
/*
 * Copyright (c) 2025 FOC Project
 *
 * SPDX-License-Identifier: Apache-2.0
 */

#ifndef MT6701_H
#define MT6701_H

#include <zephyr/kernel.h>
#include <zephyr/device.h>
#include <zephyr/drivers/i2c.h>

/**
 * @brief MT6701 magnetic angle encoder driver
 *
 * This driver provides I2C communication with the MT6701 14-bit
 * magnetic angle position encoder sensor.
 */

/* MT6701 register addresses */
#define MT6701_REG_ANGLE_H         0x03  /* Angle[13:6] */
#define MT6701_REG_ANGLE_L         0x04  /* Angle[5:0] + status bits */

/* Angle resolution */
#define MT6701_ANGLE_RESOLUTION    16384  /* 14-bit: 2^14 */

/**
 * @brief MT6701 device configuration (from DTS)
 */
struct mt6701_config {
	struct i2c_dt_spec i2c;
};

/**
 * @brief MT6701 device runtime data
 */
struct mt6701_data {
	const struct device *dev;
};

/**
 * @brief Read raw angle value from MT6701
 *
 * @param dev Pointer to MT6701 device
 * @param angle Pointer to store 14-bit angle value (0-16383)
 * @return 0 on success, negative errno on failure
 */
int mt6701_read_angle_raw(const struct device *dev, uint16_t *angle);

/**
 * @brief Read angle in degrees from MT6701
 *
 * @param dev Pointer to MT6701 device
 * @param angle_deg Pointer to store angle in degrees (0.0-360.0)
 * @return 0 on success, negative errno on failure
 */
int mt6701_read_angle_deg(const struct device *dev, float *angle_deg);

/**
 * @brief Read angle in radians from MT6701
 *
 * @param dev Pointer to MT6701 device
 * @param angle_rad Pointer to store angle in radians (0.0-2π)
 * @return 0 on success, negative errno on failure
 */
int mt6701_read_angle_rad(const struct device *dev, float *angle_rad);

#endif /* MT6701_H */
```

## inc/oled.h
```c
#ifndef OLED_H
#define OLED_H

#include <stdint.h>
#include <stdbool.h>

/**
 * @brief Clear the OLED display buffer
 *
 * Clears the internal buffer. Call oled_update() to refresh the display.
 */
void oled_clear(void);

/**
 * @brief Update the OLED display with current buffer content
 *
 * This function sends the display buffer to the OLED screen.
 */
void oled_update(void);

/**
 * @brief Write a number to the OLED display
 *
 * @param n Number to display (0-999)
 * @param line Line number (vertical position)
 * @param pos Position on the line (horizontal position)
 *
 * Displays a number on the OLED screen using 12x16 font.
 * Numbers greater than 999 are ignored.
 */
void oled_write(uint16_t n, uint8_t line, uint8_t pos);

/**
 * @brief Set cursor position on OLED display
 *
 * @param x X coordinate
 * @param y Y coordinate
 */
void oled_set_pos(uint8_t x, uint8_t y);

/**
 * @brief Set display contrast
 *
 * @param value Contrast value (0-255)
 */
void ssd1306_SetContrast(const uint8_t value);

#endif // OLED_H
```

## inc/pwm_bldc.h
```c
/*
 * Copyright (c) 2025 FOC Project
 *
 * SPDX-License-Identifier: Apache-2.0
 */

#ifndef PWM_BLDC_H
#define PWM_BLDC_H

#include <zephyr/kernel.h>
#include <zephyr/device.h>
#include <zephyr/drivers/pwm.h>

/**
 * @brief PWM BLDC motor driver
 *
 * This driver provides 3-phase PWM control for BLDC motors
 * using a PWM device specified via device tree alias.
 */

/**
 * @brief PWM BLDC device configuration (from DTS)
 */
struct pwm_bldc_config {
	struct pwm_dt_spec pwm_ch1;  /* Phase A */
	struct pwm_dt_spec pwm_ch2;  /* Phase B */
	struct pwm_dt_spec pwm_ch3;  /* Phase C */
	uint32_t pwm_period_ns;      /* PWM period in nanoseconds */
};

/**
 * @brief PWM BLDC device runtime data
 */
struct pwm_bldc_data {
	const struct device *dev;
	bool initialized;
	float phase;  /* Current phase angle in degrees */
	float duty;   /* Current duty cycle in percentage */
};

/**
 * @brief Set duty cycle for all three phases with independent control
 *
 * @param dev Pointer to PWM BLDC device
 * @param duty_a Duty cycle for phase A (0-100%)
 * @param duty_b Duty cycle for phase B (0-100%)
 * @param duty_c Duty cycle for phase C (0-100%)
 * @return 0 on success, negative errno on failure
 */
int pwm_bldc_set_duty(const struct device *dev, float duty_a, float duty_b, float duty_c);

/**
 * @brief Set duty cycle for a single phase
 *
 * @param dev Pointer to PWM BLDC device
 * @param phase Phase number (0=A, 1=B, 2=C)
 * @param duty Duty cycle (0-100%)
 * @return 0 on success, negative errno on failure
 */
int pwm_bldc_set_phase_duty(const struct device *dev, uint8_t phase, float duty);

/**
 * @brief Set three-phase sinusoidal PWM with 120-degree spacing
 *
 * @param dev Pointer to PWM BLDC device
 * @param angle_deg Electrical angle in degrees (0-360)
 * @param amplitude Amplitude/magnitude (0-100%)
 * @return 0 on success, negative errno on failure
 */
int pwm_bldc_set_vector(const struct device *dev, float angle_deg, float amplitude);

/**
 * @brief Disable all PWM outputs (set to 0%)
 *
 * @param dev Pointer to PWM BLDC device
 * @return 0 on success, negative errno on failure
 */
int pwm_bldc_disable(const struct device *dev);

/**
 * @brief Get PWM device by alias
 *
 * @param alias DTS alias name (e.g., "pwm-motor0")
 * @return Pointer to device or NULL if not found
 */
const struct device *pwm_bldc_get_device(const char *alias);

/**
 * @brief Update OLED display with current PWM values
 *
 * Displays phase and duty cycle for both motors on the OLED.
 * Motor 0 on line 0, Motor 1 on line 1.
 */
void pwm_bldc_update_oled(void);

#endif /* PWM_BLDC_H */
```

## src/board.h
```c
#ifndef BOARD_H
#define BOARD_H

#include <zephyr/kernel.h>
#include <zephyr/drivers/i2c.h>
#include <zephyr/drivers/gpio.h>

// SSD1306 OLED Configuration
#define SSD1306_I2C_ADDR    0x3C    // 7-bit I2C address
#define SSD1306_WIDTH       40      // Display width in pixels
#define SSD1306_HEIGHT      72      // Display height in pixels

// I2C device - will be defined in DTS
#define I2C_DEV_NODE DT_NODELABEL(i2c1)

// Function prototypes from Zephyr I2C driver
// (These mirror the STM32 HAL functions used in oled.c)
// Note: oled.c needs to be updated to use Zephyr I2C API

#endif // BOARD_H
```

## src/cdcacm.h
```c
/*
 * Copyright (c) 2025 FOC Project
 *
 * SPDX-License-Identifier: Apache-2.0
 */

#ifndef CDCACM_H
#define CDCACM_H

#ifdef CONFIG_ENABLE_USB
#include <zephyr/usb/usbd.h>

/**
 * @brief Initialize USB CDC-ACM device
 *
 * This function initializes the USB device stack and enables
 * CDC-ACM virtual serial port.
 *
 * @return 0 on success, negative error code on failure
 */
int cdcacm_init(void);

/**
 * @brief Get USB device context
 *
 * @return Pointer to USB device context, or NULL if not initialized
 */
struct usbd_context *cdcacm_get_context(void);

#else
/* Stub functions when USB is disabled */
static inline int cdcacm_init(void) { return 0; }
static inline void *cdcacm_get_context(void) { return NULL; }
#endif /* CONFIG_ENABLE_USB */

#endif /* CDCACM_H */
```
